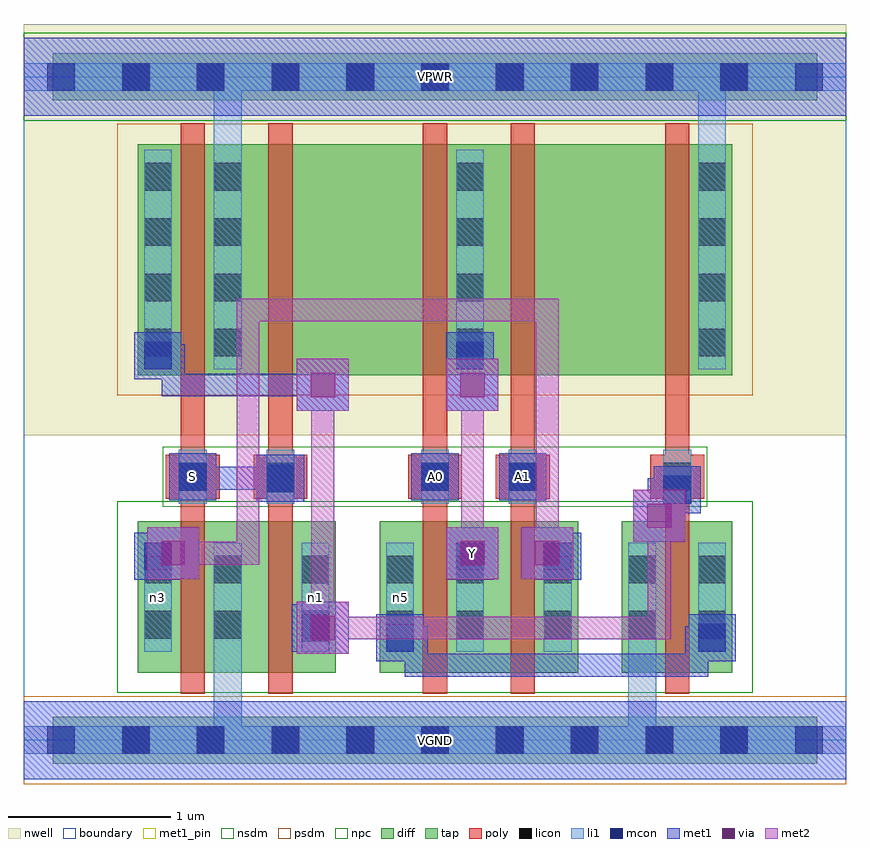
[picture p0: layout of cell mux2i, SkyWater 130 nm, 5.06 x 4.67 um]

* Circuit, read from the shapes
.subckt mux2i A0 A1 S VGND VPWR Y n1 n3 n5
XM1 VGND S n3 VGND sky130_fd_pr__nfet_01v8 w=0.93 l=0.15
XM2 n1 S VGND VGND sky130_fd_pr__nfet_01v8 w=0.93 l=0.15
XM3 Y A0 n5 VGND sky130_fd_pr__nfet_01v8 w=0.93 l=0.15
XM4 n3 A1 Y VGND sky130_fd_pr__nfet_01v8 w=0.93 l=0.15
XM5 n5 n1 VGND VGND sky130_fd_pr__nfet_01v8 w=0.93 l=0.15
XM6 VPWR S n1 VPWR sky130_fd_pr__pfet_01v8 w=1.42 l=0.15
XM7 n2 S VPWR VPWR sky130_fd_pr__pfet_01v8 w=1.42 l=0.15
XM8 Y A0 n2 VPWR sky130_fd_pr__pfet_01v8 w=1.42 l=0.15
XM9 n4 A1 Y VPWR sky130_fd_pr__pfet_01v8 w=1.42 l=0.15
XM10 VPWR n1 n4 VPWR sky130_fd_pr__pfet_01v8 w=1.42 l=0.15
.ends

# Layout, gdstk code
import gdstk
lib = gdstk.Library(unit=1e-6, precision=1e-09)
def R(c, l, rs):  # rectangles x0, y0, x1, y1
    for r in rs: c.add(gdstk.rectangle(r[:2], r[2:], *l))
def A(c, l, x, y, w, h, nx, ny, dx, dy):  # array of equal rectangles
    R(c, l, [(x+i*dx, y+j*dy, x+i*dx+w, y+j*dy+h) for i in range(nx) for j in range(ny)])
nwell = (64, 20)
diff = (65, 20)
tap = (65, 44)
poly = (66, 20)
licon = (66, 44)
li1 = (67, 20)
mcon = (67, 44)
met1_pin = (68, 16)
met1 = (68, 20)
via = (68, 44)
met2 = (69, 20)
nsdm = (93, 44)
psdm = (94, 20)
npc = (95, 20)
boundary = (235, 4)

mux2i = lib.new_cell('mux2i')
R(mux2i, nwell, [(0,1.875,5.06,4.405)])
R(mux2i, diff, [(0.7,0.415,1.92,1.345), (2.19,0.415,3.41,1.345), (3.68,0.415,4.36,1.345), (0.7,2.245,4.36,3.665)])
R(mux2i, tap, [(0.18,-0.145,4.88,0.145), (0.18,3.935,4.88,4.225)])
R(mux2i, poly, [(0.965,0.285,1.115,3.795), (1.505,0.285,1.655,3.795), (2.455,0.285,2.605,3.795), (2.995,0.285,3.145,3.795), (3.945,0.285,4.095,3.795), (0.875,1.485,1.205,1.755), (1.415,1.485,1.745,1.755), (2.365,1.485,2.695,1.755), (2.905,1.485,3.235,1.755), (3.855,1.485,4.185,1.755)])
A(mux2i, licon, 0.605, -0.085, 0.17, 0.17, 9, 2, 0.46, 4.08)
A(mux2i, licon, 0.74, 2.36, 0.17, 0.17, 1, 4, 0, 0.34)
A(mux2i, licon, 1.17, 2.36, 0.17, 0.17, 3, 4, 1.49, 0.34)
R(mux2i, licon, [(0.74,0.625,0.91,0.795), (1.17,0.625,1.34,0.795), (1.71,0.625,1.88,0.795), (2.23,0.625,2.4,0.795), (2.66,0.625,2.83,0.795), (3.2,0.625,3.37,0.795), (3.72,0.625,3.89,0.795), (4.15,0.625,4.32,0.795), (0.74,0.965,0.91,1.135), (1.17,0.965,1.34,1.135), (1.71,0.965,1.88,1.135), (2.23,0.965,2.4,1.135), (2.66,0.965,2.83,1.135), (3.2,0.965,3.37,1.135), (3.72,0.965,3.89,1.135), (4.15,0.965,4.32,1.135), (0.955,1.535,1.125,1.705), (1.495,1.535,1.665,1.705), (2.445,1.535,2.615,1.705), (2.985,1.535,3.155,1.705), (3.935,1.535,4.105,1.705)])
A(mux2i, li1, 1.17, 2.28, 0.17, 1.35, 3, 1, 1.49, 0)
R(mux2i, li1, [(0,-0.085,5.06,0.085), (1.17,-0.085,1.34,1.215), (3.72,-0.085,3.89,1.215), (0.74,0.545,0.91,1.215), (1.17,0.545,1.34,1.215), (1.71,0.545,1.88,1.215), (2.23,0.545,2.4,1.215), (2.66,0.545,2.83,1.215), (3.2,0.545,3.37,1.215), (3.72,0.545,3.89,1.215), (4.15,0.545,4.32,1.215), (0.955,1.455,1.125,1.785), (1.495,1.455,1.665,1.785), (2.445,1.455,2.615,1.785), (2.985,1.455,3.155,1.785), (3.935,1.455,4.105,1.785), (0.74,2.28,0.91,3.63), (1.17,2.28,1.34,4.165), (4.15,2.28,4.32,4.165), (0,3.995,5.06,4.165)])
A(mux2i, mcon, 0.145, -0.085, 0.17, 0.17, 11, 2, 0.46, 4.08)
R(mux2i, mcon, [(2.23,0.545,2.4,0.715), (4.15,0.545,4.32,0.715), (1.71,0.605,1.88,0.775), (0.74,1.045,0.91,1.215), (2.66,1.045,2.83,1.215), (3.2,1.045,3.37,1.215), (3.935,1.455,4.105,1.625), (1.495,1.525,1.665,1.695), (0.955,1.535,1.125,1.705), (2.445,1.535,2.615,1.705), (2.985,1.535,3.155,1.705), (0.74,2.28,0.91,2.45), (2.66,2.28,2.83,2.45)])
R(mux2i, met1_pin, [(0,-0.24,5.06,0.24), (2.6,0.99,2.92,1.31), (0.895,1.475,1.185,1.765), (2.385,1.475,2.675,1.765), (2.925,1.475,3.215,1.765), (0,3.84,5.06,4.32)])
R(mux2i, met1, [(0,-0.24,5.06,0.24), (2.345,0.39,2.485,0.7), (2.345,0.39,4.21,0.53), (4.07,0.39,4.21,0.7), (2.17,0.485,2.46,0.775), (4.09,0.485,4.38,0.775), (1.68,0.53,2,0.85), (1.65,0.545,1.94,0.835), (2.245,0.56,2.485,0.7), (4.07,0.56,4.305,0.7), (1.725,0.62,1.91,0.76), (0.68,0.985,0.97,1.275), (2.6,0.985,2.89,1.275), (3.14,0.985,3.43,1.275), (0.76,0.99,1.08,1.31), (2.6,0.99,2.92,1.31), (3.06,0.99,3.38,1.31), (0.755,1.06,0.99,1.2), (0.85,1.06,0.99,1.22), (2.675,1.06,2.83,1.2), (2.69,1.06,2.83,1.22), (3.15,1.06,3.29,1.22), (3.15,1.06,3.355,1.2), (3.75,1.22,4.07,1.54), (3.84,1.31,3.98,1.61), (3.875,1.395,4.165,1.685), (1.435,1.465,1.725,1.755), (3.84,1.47,4.09,1.61), (0.895,1.475,1.185,1.765), (2.385,1.475,2.675,1.765), (2.925,1.475,3.215,1.765), (0.965,1.54,1.105,1.68), (0.965,1.54,1.45,1.68), (1.31,1.54,1.65,1.68), (1.68,2.025,2,2.345), (2.6,2.025,2.92,2.345), (0.85,2.115,0.99,2.435), (0.85,2.115,1.91,2.255), (2.69,2.115,2.83,2.435), (0.68,2.22,0.97,2.51), (2.6,2.22,2.89,2.51), (0.755,2.295,0.99,2.435), (2.675,2.295,2.83,2.435), (0,3.84,5.06,4.32)])
R(mux2i, via, [(1.765,0.615,1.915,0.765), (0.845,1.075,0.995,1.225), (2.685,1.075,2.835,1.225), (3.145,1.075,3.295,1.225), (3.835,1.305,3.985,1.455), (1.765,2.11,1.915,2.26), (2.685,2.11,2.835,2.26)])
R(mux2i, met2, [(1.68,0.53,2,0.85), (1.77,0.62,3.98,0.76), (1.77,0.62,1.91,2.255), (3.84,0.62,3.98,1.45), (0.76,0.99,1.08,1.31), (2.6,0.99,2.92,1.31), (3.06,0.99,3.38,1.31), (0.85,1.08,1.45,1.22), (1.31,1.08,1.45,2.715), (2.69,1.08,2.83,2.255), (3.15,1.08,3.29,2.715), (3.75,1.22,4.07,1.54), (1.68,2.025,2,2.345), (2.6,2.025,2.92,2.345), (1.31,2.575,3.29,2.715)])
R(mux2i, nsdm, [(0.575,0.29,4.485,1.47), (0,3.81,5.06,4.35)])
R(mux2i, psdm, [(0,-0.27,5.06,0.27), (0.575,2.12,4.485,3.79)])
R(mux2i, npc, [(0.855,1.435,4.205,1.805)])
R(mux2i, boundary, [(0,0,5.06,4.08)])
mux2i.add(gdstk.Label('n3', (0.825,0.88), layer=67, texttype=5))
mux2i.add(gdstk.Label('n1', (1.795,0.88), layer=67, texttype=5))
mux2i.add(gdstk.Label('n5', (2.315,0.88), layer=67, texttype=5))
mux2i.add(gdstk.Label('A0', (2.53,1.62), layer=68, texttype=5))
mux2i.add(gdstk.Label('A1', (3.07,1.62), layer=68, texttype=5))
mux2i.add(gdstk.Label('S', (1.04,1.62), layer=68, texttype=5))
mux2i.add(gdstk.Label('Y', (2.76,1.15), layer=68, texttype=5))
mux2i.add(gdstk.Label('VPWR', (2.53,4.08), layer=68, texttype=5))
mux2i.add(gdstk.Label('VGND', (2.53,0), layer=68, texttype=5))
mux2i.add(gdstk.Label('A0', (2.53,1.62), layer=68, texttype=16))
mux2i.add(gdstk.Label('A1', (3.07,1.62), layer=68, texttype=16))
mux2i.add(gdstk.Label('S', (1.04,1.62), layer=68, texttype=16))
mux2i.add(gdstk.Label('Y', (2.76,1.15), layer=68, texttype=16))
mux2i.add(gdstk.Label('VPWR', (2.53,4.08), layer=68, texttype=16))
mux2i.add(gdstk.Label('VGND', (2.53,0), layer=68, texttype=16))

lib.write_gds('mux2i.gds')
